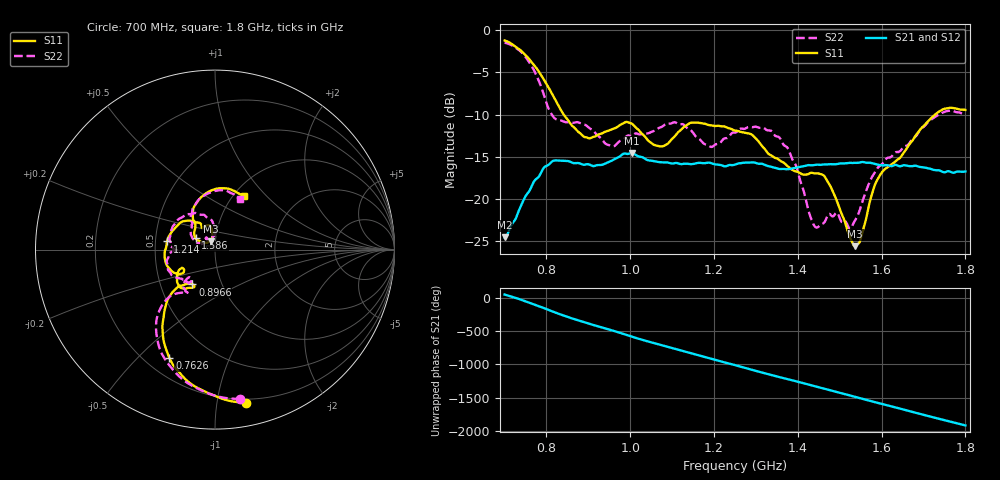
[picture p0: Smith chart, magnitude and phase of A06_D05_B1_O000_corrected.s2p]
! Created with skrf 1.9.0 (http://scikit-rf.org).
# Hz S RI R 50.0
!freq ReS11 ImS11 ReS21 ImS21 ReS12 ImS12 ReS22 ImS22
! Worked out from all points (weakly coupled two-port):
!   1601 points, 700 MHz to 1.8 GHz, reference 50 ohm
!   highest |S21| = -14.55 dB at 1.003 GHz (marker M1); lowest = -24.5 dB at 700.7 MHz (marker M2)
!   lowest |S11| = -25.6 dB at 1.537 GHz (marker M3), VSWR 1.11, Z = 47.4 + j4.45 ohm
!   |S11| at or under -10 dB: 841.1 MHz to 1.727 GHz (886.3 MHz wide, 69 % of centre)
!   |S22| runs from -23.5 to -1.5 dB; largest |S21 - S12| = 0.0035
!   S11 on the Smith chart (normalised r, x): 700 MHz: 0.17, -1.21; 762.6 MHz: 0.29, -0.62; 896.6 MHz: 0.73, -0.30; 1.214 GHz: 0.58, +0.06; 1.586 GHz: 0.80, +0.10; 1.8 GHz: 1.12, +0.75
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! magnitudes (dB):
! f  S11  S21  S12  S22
! 700 MHz  -1.2  -24.5  -24.3  -1.5
! 700.7 MHz  -1.2  -24.5  -24.2  -1.5
! 762.6 MHz  -3.7  -18.7  -18.7  -4.1
! 816.9 MHz  -7.8  -15.5  -15.6  -10.3
! 883.6 MHz  -12.4  -15.9  -15.8  -11.1
! 896.6 MHz  -12.7  -15.9  -16.0  -11.4
! 955.8 MHz  -11.7  -15.5  -15.5  -13.7
! 1.003 GHz  -11.1  -14.5  -14.7  -12.5
! 1.067 GHz  -13.7  -15.6  -15.6  -11.6
! 1.144 GHz  -11.0  -15.9  -15.9  -11.8
! 1.214 GHz  -11.4  -15.9  -15.9  -13.4
! 1.25 GHz  -11.9  -15.9  -15.9  -12.1
! 1.357 GHz  -15.4  -16.4  -16.4  -12.7
! 1.395 GHz  -16.7  -16.3  -16.3  -16.0
! 1.434 GHz  -16.9  -16.0  -16.0  -22.6
! 1.47 GHz  -17.8  -15.9  -15.9  -22.0
! 1.537 GHz  -25.6  -15.7  -15.7  -22.5
! 1.55 GHz  -24.7  -15.6  -15.7  -20.9
! 1.586 GHz  -18.1  -15.9  -15.9  -16.6
! 1.617 GHz  -16.1  -16.0  -16.0  -15.1
! 1.733 GHz  -9.8  -16.6  -16.6  -10.1
! 1.8 GHz  -9.4  -16.7  -16.7  -10.0
